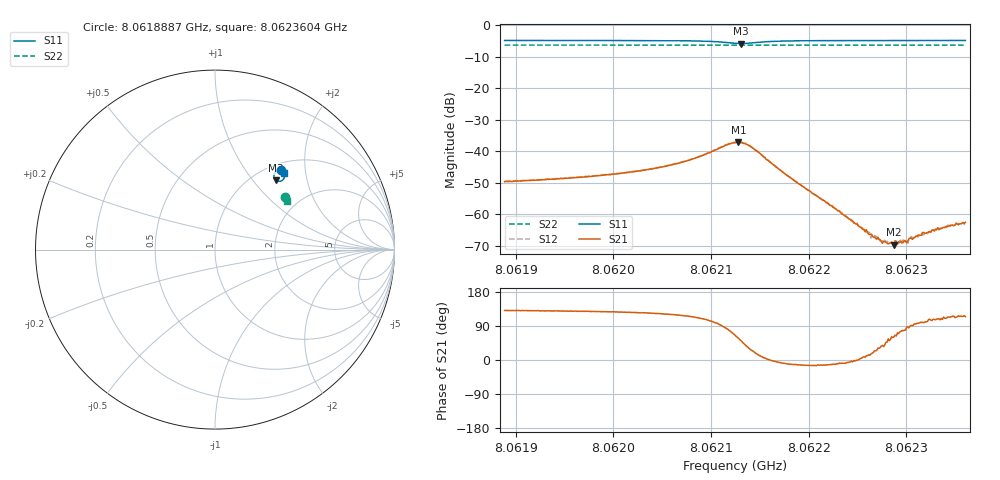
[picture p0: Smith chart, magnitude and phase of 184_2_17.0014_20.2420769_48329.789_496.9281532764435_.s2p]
#  HZ  S  RI  R  50.00
! Rohde & Schwarz Vector Network Analyzer
! Rohde-Schwarz,ZNB20-2Port,1311601062101988,3.16
! Created: UTC 3/20/2024, 11:00:17 PM
! freq[Hz]  re:S11  im:S11  re:S21  im:S21  re:S12  im:S12  re:S22  im:S22
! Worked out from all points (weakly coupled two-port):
!   401 points, 8.0618887 GHz to 8.0623604 GHz, reference 50 ohm
!   highest |S21| = -37.08 dB at 8.0621281 GHz (marker M1); lowest = -69.6 dB at 8.0622873 GHz (marker M2)
!   lowest |S11| = -5.8 dB at 8.0621304 GHz (marker M3), VSWR 3.12, Z = 62.8 + j66 ohm
!   |S11| at or under -10 dB: nowhere
!   |S22| runs from -6.3 to -6.3 dB; largest |S21 - S12| = 0.0011
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8.06188867e9  0.3692 0.4418  -0.00216 0.0025  -0.00202 0.00268  0.3872 0.2939
8.06196768e9  0.3754 0.436  -0.00241 0.00304  -0.00229 0.00327  0.3899 0.29
8.06200896e9  0.3792 0.4317  -0.00268 0.00365  -0.00244 0.00383  0.3913 0.288
8.06204669e9  0.3833 0.4254  -0.00297 0.00468  -0.00272 0.0049  0.3926 0.2859
8.06208443e9  0.3873 0.4122  -0.003 0.0073  -0.00256 0.00752  0.3939 0.2835
8.06212452e9  0.3534 0.3806  0.00564 0.0125  0.00668 0.0123  0.3931 0.2809
8.06212806e9  0.3449 0.3833  0.00756 0.0118  0.00842 0.0113  0.3928 0.281
8.06213042e9  0.3394 0.3866  0.00858 0.0107  0.0094 0.0104  0.3926 0.281
8.06214221e9  0.3284 0.4123  0.0104 0.00475  0.0107 0.00411  0.3931 0.2818
8.06217523e9  0.3536 0.439  0.00443 -0.000698  0.00441 -0.000984  0.3956 0.2811
8.06220354e9  0.3655 0.4386  0.0021 -0.000554  0.0021 -0.000656  0.3971 0.2795
8.06223302e9  0.3722 0.4363  0.00104 -0.000164  0.00105 -0.000238  0.3982 0.2779
8.06226132e9  0.3764 0.4341  0.000474 0.000116  0.000523 7.1e-05  0.3992 0.2763
8.06226722e9  0.3772 0.4336  0.0004 0.00018  0.00043 0.000164  0.3995 0.2762
8.06227311e9  0.3779 0.4333  0.000336 0.000215  0.000327 0.000188  0.3996 0.2758
8.06228255e9  0.3789 0.4326  0.00022 0.000272  0.000228 0.000279  0.4 0.2754
8.06228726e9  0.3795 0.4322  0.000159 0.00029  0.000148 0.000276  0.4001 0.2751
8.06229906e9  0.3807 0.4315  7.22e-05 0.00037  6.49e-05 0.000381  0.4005 0.2744
8.06230731e9  0.3815 0.4309  -2.28e-05 0.000423  2.08e-05 0.000431  0.4009 0.274
8.06231911e9  0.3825 0.43  -9.21e-05 0.000491  -0.000117 0.000507  0.4012 0.2735
8.06234033e9  0.3842 0.4288  -0.000214 0.0006  -0.000201 0.000602  0.4019 0.2723
8.06236038e9  0.3858 0.4275  -0.000312 0.000684  -0.000293 0.000668  0.4026 0.2713
